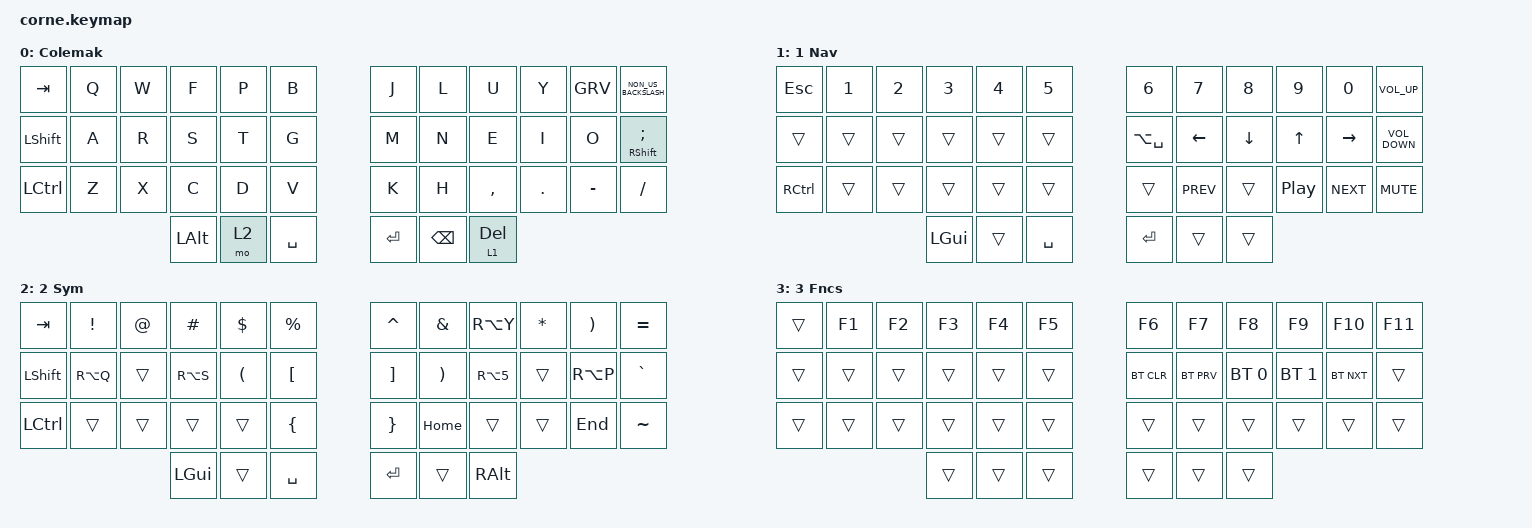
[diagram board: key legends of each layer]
/*
 * Copyright (c) 2020 The ZMK Contributors
 *
 * SPDX-License-Identifier: MIT
 */

#include <behaviors.dtsi>
#include <dt-bindings/zmk/bt.h>
#include <dt-bindings/zmk/keys.h>

#define KEYS_L 0 1 2 3 4 5 12 13 14 15 16 17 24 25 26 27 28 29
#define KEYS_R 6 7 8 9 10 11 18 19 20 21 22 23 30 31 32 33 34 35
#define THUMBS 36 37 38 39 40 41

/ {
    combos {
        compatible = "zmk,combos";

        layer3 {
            bindings = <&mo 3>;
            key-positions = <37 41>;
        };
    };

    behaviors {
        hml: hml {
            compatible = "zmk,behavior-hold-tap";
            label = "HML";
            bindings = <&kp>, <&kp>;

            #binding-cells = <2>;
            tapping-term-ms = <280>;
            quick-tap-ms = <175>;
            require-prior-idle-ms = <100>;
            flavor = "tap-preferred";
            hold-trigger-key-positions = <KEYS_R THUMBS>;
            hold-trigger-on-release;
        };

        hmr: hmr {
            compatible = "zmk,behavior-hold-tap";
            label = "HMR";
            bindings = <&kp>, <&kp>;

            #binding-cells = <2>;
            tapping-term-ms = <280>;
            quick-tap-ms = <175>;
            require-prior-idle-ms = <100>;
            flavor = "tap-preferred";
            hold-trigger-key-positions = <KEYS_L THUMBS>;
            hold-trigger-on-release;
        };

        td_shft: td_shft {
            compatible = "zmk,behavior-tap-dance";
            label = "TD_SHFT";
            #binding-cells = <0>;
            bindings = <&kp LSHFT>, <&caps_word>;
        };
    };

    macros {
        GRV: GRV {
            compatible = "zmk,behavior-macro";
            #binding-cells = <0>;
            bindings = <&kp SINGLE_QUOTE &kp SPACE>;
            label = "GRV";
        };
    };

    keymap {
        compatible = "zmk,keymap";

        default_layer {
            display-name = "Colemak";

            // -----------------------------------------------------------------------------------------
            // |  TAB |  Q  |  W  |  F  |  P  |  B  |   |  J  |  L   |  U  |  Y  |  '  |  \   |
            // | SHFT |  A  |  R  |  S  |  T  |  G  |   |  H  |  J   |  K  |  L  |  ;  |  ;   |
            // | CTRL |  Z  |  X  |  C  |  D  |  V  |   |  K  |  H   |  ,  |  .  |  -  |  /   |
            //                    | LALT| LWR | SPC |   | BSPC| RSE  | DEL |

            bindings = <
&kp TAB         &kp Q  &kp W  &kp F         &kp P  &kp B        &kp J    &kp L          &kp U         &kp Y       &GRV       &kp NON_US_BACKSLASH
&kp LEFT_SHIFT  &kp A  &kp R  &kp S         &kp T  &kp G        &kp M    &kp N          &kp E         &kp I       &kp O      &mt RSHFT SEMICOLON
&kp LCTRL       &kp Z  &kp X  &kp C         &kp D  &kp V        &kp K    &kp H          &kp COMMA     &kp PERIOD  &kp MINUS  &kp SLASH
                              &kp LEFT_ALT  &mo 2  &kp SPACE    &kp RET  &kp BACKSPACE  &lt 1 DELETE
            >;
        };

        layer_1 {
            display-name = "1 Nav";

            // -----------------------------------------------------------------------------------------
            // |  ESC |  1  |  2  |  3  |  4  |  5  |   |  6  |  7  |  8  |  9  |  0  | VOL_UP |
            // |      |     |     |     |     |     |   |LNCH | LFT | DWN |  UP | RGT | VOL_DN |
            // | CTRL |     |     |     |     |     |   |     | PRV |     |  PP | NXT | MUTE   |
            //                    | GUI |     | SPC |   | BSPC|     | ALT |

            bindings = <
&kp ESCAPE  &kp N1  &kp N2  &kp N3    &kp N4  &kp N5       &kp N6         &kp N7      &kp N8    &kp N9            &kp N0      &kp C_VOLUME_UP
&trans      &trans  &trans  &trans    &trans  &trans       &kp LA(SPACE)  &kp LEFT    &kp DOWN  &kp UP            &kp RIGHT   &kp C_VOLUME_DOWN
&kp RCTRL   &trans  &trans  &trans    &trans  &trans       &trans         &kp C_PREV  &trans    &kp C_PLAY_PAUSE  &kp C_NEXT  &kp C_MUTE
                            &kp LGUI  &trans  &kp SPACE    &kp RET        &trans      &trans
            >;
        };

        layer_2 {
            display-name = "2 Sym";

            // -----------------------------------------------------------------------------------------
            // |  TAB |  !  |  @  |  #  |  $  |  %  |   |  ^  |  &  |  Ü  |  *  |  )  |  =   |
            // | SHFT |  Ä  |     |  ß  |  (  |  [  |   |  ]  |  )  |  €  |     |  Ö  |  `   |
            // | CTRL |     |     |     |     |  {  |   |  }  |     |  {  |     |     |  ~   |
            //                    | GUI |     | SPC |   | ENT |     | ALT |

            bindings = <
&kp TAB         &kp EXCLAMATION  &kp AT  &kp HASH   &kp DLLR              &kp PRCNT           &kp CARET          &kp AMPS               &kp RA(Y)   &kp STAR  &kp RPAR   &kp EQUAL
&kp LEFT_SHIFT  &kp RA(Q)        &trans  &kp RA(S)  &kp LEFT_PARENTHESIS  &kp LEFT_BRACKET    &kp RIGHT_BRACKET  &kp RIGHT_PARENTHESIS  &kp RA(N5)  &trans    &kp RA(P)  &kp GRAVE
&kp LCTRL       &trans           &trans  &trans     &trans                &kp LEFT_BRACE      &kp RIGHT_BRACE    &kp HOME               &trans      &trans    &kp END    &kp TILDE
                                         &kp LGUI   &trans                &kp SPACE           &kp RET            &trans                 &kp RALT
            >;
        };

        layer_3 {
            display-name = "3 Fncs";
            bindings = <
&trans  &kp F1  &kp F2  &kp F3  &kp F4  &kp F5    &kp F6      &kp F7      &kp F8        &kp F9        &kp F10     &kp F11
&trans  &trans  &trans  &trans  &trans  &trans    &bt BT_CLR  &bt BT_PRV  &bt BT_SEL 0  &bt BT_SEL 1  &bt BT_NXT  &trans
&trans  &trans  &trans  &trans  &trans  &trans    &trans      &trans      &trans        &trans        &trans      &trans
                        &trans  &trans  &trans    &trans      &trans      &trans
            >;
        };
    };
};
